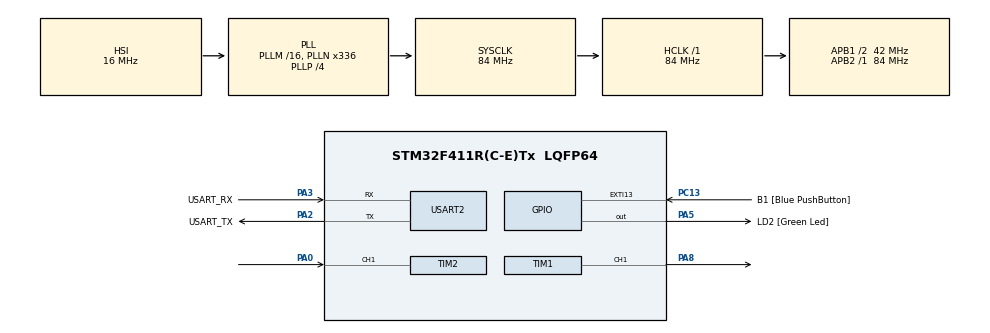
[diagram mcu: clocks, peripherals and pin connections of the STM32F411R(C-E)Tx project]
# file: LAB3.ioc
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Dma.Request0=TIM2_CH1
Dma.TIM2_CH1.0.Direction=DMA_PERIPH_TO_MEMORY
Dma.TIM2_CH1.0.FIFOMode=DMA_FIFOMODE_DISABLE
Dma.TIM2_CH1.0.Instance=DMA1_Stream5
Dma.TIM2_CH1.0.MemDataAlignment=DMA_MDATAALIGN_WORD
Dma.TIM2_CH1.0.MemInc=DMA_MINC_ENABLE
Dma.TIM2_CH1.0.Mode=DMA_CIRCULAR
Dma.TIM2_CH1.0.PeriphDataAlignment=DMA_PDATAALIGN_WORD
Dma.TIM2_CH1.0.PeriphInc=DMA_PINC_DISABLE
Dma.TIM2_CH1.0.Priority=DMA_PRIORITY_LOW
Mcu.Family=STM32F4
Mcu.Name=STM32F411R(C-E)Tx
Mcu.Package=LQFP64
NVIC.DMA1_Stream5_IRQn=true\:0\:0\:false\:false\:true\:false\:true\:true
NVIC.PriorityGroup=NVIC_PRIORITYGROUP_0
PA0-WKUP.Signal=S_TIM2_CH1_ETR
PA13.GPIO_Label=TMS
PA13.Mode=Serial_Wire
PA13.Signal=SYS_JTMS-SWDIO
PA14.GPIO_Label=TCK
PA14.Mode=Serial_Wire
PA14.Signal=SYS_JTCK-SWCLK
PA2.GPIO_Label=USART_TX
PA2.Mode=Asynchronous
PA2.Signal=USART2_TX
PA3.GPIO_Label=USART_RX
PA3.Mode=Asynchronous
PA3.Signal=USART2_RX
PA5.GPIO_Label=LD2 [Green Led]
PA5.Signal=GPIO_Output
PA8.Signal=S_TIM1_CH1
PB3.GPIO_Label=SWO
PB3.Signal=SYS_JTDO-SWO
PC13-ANTI_TAMP.GPIO_Label=B1 [Blue PushButton]
PC13-ANTI_TAMP.GPIO_ModeDefaultEXTI=GPIO_MODE_IT_FALLING
PC13-ANTI_TAMP.Signal=GPXTI13
PC14-OSC32_IN.Mode=LSE-External-Oscillator
PC14-OSC32_IN.Signal=RCC_OSC32_IN
PC15-OSC32_OUT.Mode=LSE-External-Oscillator
PC15-OSC32_OUT.Signal=RCC_OSC32_OUT
PH0\ -\ OSC_IN.Mode=HSE-External-Clock-Source
PH0\ -\ OSC_IN.Signal=RCC_OSC_IN
PH1\ -\ OSC_OUT.Mode=HSE-External-Clock-Source
PH1\ -\ OSC_OUT.Signal=RCC_OSC_OUT
ProjectManager.HeapSize=0x200
ProjectManager.StackSize=0x400
ProjectManager.TargetToolchain=STM32CubeIDE
RCC.48MHZClocksFreq_Value=84000000
RCC.AHBFreq_Value=84000000
RCC.APB1CLKDivider=RCC_HCLK_DIV2
RCC.APB1Freq_Value=42000000
RCC.APB1TimFreq_Value=84000000
RCC.APB2Freq_Value=84000000
RCC.APB2TimFreq_Value=84000000
RCC.CortexFreq_Value=84000000
RCC.FLatency-AdvancedSettings=FLASH_LATENCY_2
RCC.HCLKFreq_Value=84000000
RCC.HSE_VALUE=8000000
RCC.HSI_VALUE=16000000
RCC.PLLN=336
RCC.PLLP=RCC_PLLP_DIV4
RCC.SYSCLKFreq_VALUE=84000000
RCC.SYSCLKSource=RCC_SYSCLKSOURCE_PLLCLK
RCC.VCOOutputFreq_Value=336000000
SH.S_TIM1_CH1.0=TIM1_CH1,PWM Generation1 CH1
SH.S_TIM2_CH1_ETR.0=TIM2_CH1,Input_Capture1_from_TI1
TIM1.Channel-PWM\ Generation1\ CH1=TIM_CHANNEL_1
TIM1.Period=1000
TIM1.Prescaler=83
TIM1.Pulse-PWM\ Generation1\ CH1=500
TIM2.Channel-Input_Capture1_from_TI1=TIM_CHANNEL_1
TIM2.Prescaler=83
USART2.VirtualMode=VM_ASYNC
VP_TIM1_VS_ClockSourceINT.Mode=Internal
VP_TIM2_VS_ClockSourceINT.Mode=Internal
board=NUCLEO-F411RE

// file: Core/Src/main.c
/* USER CODE BEGIN Header */
/**
  ******************************************************************************
  * @file           : main.c
  * @brief          : Main program body
  ******************************************************************************
  * @attention
  *
  * Copyright (c) 2023 STMicroelectronics.
  * All rights reserved.
  *
  * This software is licensed under terms that can be found in the LICENSE file
  * in the root directory of this software component.
  * If no LICENSE file comes with this software, it is provided AS-IS.
  *
  ******************************************************************************
  */
/* USER CODE END Header */
#include "main.h"

/* USER CODE BEGIN Includes */
#define IC_BUFFER_SIZE 20
/* USER CODE END Includes */

TIM_HandleTypeDef htim1;
TIM_HandleTypeDef htim2;
DMA_HandleTypeDef hdma_tim2_ch1;

UART_HandleTypeDef huart2;

/* USER CODE BEGIN PV */
uint32_t InputCaptureBuffer[IC_BUFFER_SIZE];
float averageRisingedgePeriod;
int MotorControlEnable =0 ;
uint32_t PWM = 0;
uint32_t MotorReadRPM = 0, MotorSetDuty = 0;
uint32_t MotorSetRPM =0;

void SystemClock_Config(void);
static void MX_GPIO_Init(void);
static void MX_DMA_Init(void);
static void MX_USART2_UART_Init(void);
static void MX_TIM2_Init(void);
static void MX_TIM1_Init(void);
/* USER CODE BEGIN PFP */
float IC_Calc_Period();
/* USER CODE END PFP */

int main(void)
{

  /* MCU Configuration--------------------------------------------------------*/

  /* Reset of all peripherals, Initializes the Flash interface and the Systick. */
  HAL_Init();

  /* Configure the system clock */
  SystemClock_Config();

  /* Initialize all configured peripherals */
  MX_GPIO_Init();
  MX_DMA_Init();
  MX_USART2_UART_Init();
  MX_TIM2_Init();
  MX_TIM1_Init();
  /* USER CODE BEGIN 2 */
HAL_TIM_Base_Start(&htim2);
HAL_TIM_IC_Start_DMA(&htim2, TIM_CHANNEL_1, InputCaptureBuffer, IC_BUFFER_SIZE);

HAL_TIM_Base_Start(&htim1);
HAL_TIM_PWM_Start(&htim1, TIM_CHANNEL_1);
  /* USER CODE END 2 */

  /* Infinite loop */
  while (1)
  {

    /* USER CODE BEGIN 3 */
	  static uint32_t timestamp = 0;
	  if (HAL_GetTick()>= timestamp)
	  {
		  timestamp = HAL_GetTick()+500;
		  averageRisingedgePeriod = IC_Calc_Period();

		  MotorReadRPM = 60/(12*64*0.000001*averageRisingedgePeriod);

		  if (MotorControlEnable == 0)
		  {
			  if (MotorSetDuty <= 100)
			  {
				  PWM = (MotorSetDuty * 1000)/100;
				  __HAL_TIM_SET_COMPARE(&htim1,TIM_CHANNEL_1,PWM);
			  }
			  else if (MotorSetDuty > 100)
			  {
				  PWM = 1000;
				  __HAL_TIM_SET_COMPARE(&htim1,TIM_CHANNEL_1,PWM);
			  }
		  }

		  else if (MotorControlEnable == 1)
		  {
			  if(MotorSetRPM > MotorReadRPM)
			  {
				  PWM += 50;
				  __HAL_TIM_SET_COMPARE(&htim1,TIM_CHANNEL_1,PWM);
				  if (PWM > 1000)
				  {
					  PWM = 1000;
					  __HAL_TIM_SET_COMPARE(&htim1,TIM_CHANNEL_1,PWM);
				  }
			  }
			  else if (MotorSetRPM == 0)
			  {
				  PWM = 50;
				  __HAL_TIM_SET_COMPARE(&htim1,TIM_CHANNEL_1,PWM);
			  }
			  else if (MotorSetRPM < MotorReadRPM)
			  {
				 PWM -= 50;
				  __HAL_TIM_SET_COMPARE(&htim1,TIM_CHANNEL_1,PWM);
				  if (PWM > 1000)
				  {
					  PWM = 1000;
					  __HAL_TIM_SET_COMPARE(&htim1,TIM_CHANNEL_1,PWM);
				  }
			  }
		  }

	  }

  }
  /* USER CODE END 3 */
}

void SystemClock_Config(void)
{
  RCC_OscInitTypeDef RCC_OscInitStruct = {0};
  RCC_ClkInitTypeDef RCC_ClkInitStruct = {0};

  /** Configure the main internal regulator output voltage
  */
  __HAL_RCC_PWR_CLK_ENABLE();
  __HAL_PWR_VOLTAGESCALING_CONFIG(PWR_REGULATOR_VOLTAGE_SCALE1);

  /** Initializes the RCC Oscillators according to the specified parameters
  * in the RCC_OscInitTypeDef structure.
  */
  RCC_OscInitStruct.OscillatorType = RCC_OSCILLATORTYPE_HSI;
  RCC_OscInitStruct.HSIState = RCC_HSI_ON;
  RCC_OscInitStruct.HSICalibrationValue = RCC_HSICALIBRATION_DEFAULT;
  RCC_OscInitStruct.PLL.PLLState = RCC_PLL_ON;
  RCC_OscInitStruct.PLL.PLLSource = RCC_PLLSOURCE_HSI;
  RCC_OscInitStruct.PLL.PLLM = 16;
  RCC_OscInitStruct.PLL.PLLN = 336;
  RCC_OscInitStruct.PLL.PLLP = RCC_PLLP_DIV4;
  RCC_OscInitStruct.PLL.PLLQ = 4;
  if (HAL_RCC_OscConfig(&RCC_OscInitStruct) != HAL_OK)
  {
    Error_Handler();
  }

  /** Initializes the CPU, AHB and APB buses clocks
  */
  RCC_ClkInitStruct.ClockType = RCC_CLOCKTYPE_HCLK|RCC_CLOCKTYPE_SYSCLK
                              |RCC_CLOCKTYPE_PCLK1|RCC_CLOCKTYPE_PCLK2;
  RCC_ClkInitStruct.SYSCLKSource = RCC_SYSCLKSOURCE_PLLCLK;
  RCC_ClkInitStruct.AHBCLKDivider = RCC_SYSCLK_DIV1;
  RCC_ClkInitStruct.APB1CLKDivider = RCC_HCLK_DIV2;
  RCC_ClkInitStruct.APB2CLKDivider = RCC_HCLK_DIV1;

  if (HAL_RCC_ClockConfig(&RCC_ClkInitStruct, FLASH_LATENCY_2) != HAL_OK)
  {
    Error_Handler();
  }
}

static void MX_TIM1_Init(void)
{

  TIM_ClockConfigTypeDef sClockSourceConfig = {0};
  TIM_MasterConfigTypeDef sMasterConfig = {0};
  TIM_OC_InitTypeDef sConfigOC = {0};
  TIM_BreakDeadTimeConfigTypeDef sBreakDeadTimeConfig = {0};

  htim1.Instance = TIM1;
  htim1.Init.Prescaler = 83;
  htim1.Init.CounterMode = TIM_COUNTERMODE_UP;
  htim1.Init.Period = 1000;
  htim1.Init.ClockDivision = TIM_CLOCKDIVISION_DIV1;
  htim1.Init.RepetitionCounter = 0;
  htim1.Init.AutoReloadPreload = TIM_AUTORELOAD_PRELOAD_DISABLE;
  if (HAL_TIM_Base_Init(&htim1) != HAL_OK)
  {
    Error_Handler();
  }
  sClockSourceConfig.ClockSource = TIM_CLOCKSOURCE_INTERNAL;
  if (HAL_TIM_ConfigClockSource(&htim1, &sClockSourceConfig) != HAL_OK)
  {
    Error_Handler();
  }
  if (HAL_TIM_PWM_Init(&htim1) != HAL_OK)
  {
    Error_Handler();
  }
  sMasterConfig.MasterOutputTrigger = TIM_TRGO_RESET;
  sMasterConfig.MasterSlaveMode = TIM_MASTERSLAVEMODE_DISABLE;
  if (HAL_TIMEx_MasterConfigSynchronization(&htim1, &sMasterConfig) != HAL_OK)
  {
    Error_Handler();
  }
  sConfigOC.OCMode = TIM_OCMODE_PWM1;
  sConfigOC.Pulse = 500;
  sConfigOC.OCPolarity = TIM_OCPOLARITY_HIGH;
  sConfigOC.OCNPolarity = TIM_OCNPOLARITY_HIGH;
  sConfigOC.OCFastMode = TIM_OCFAST_DISABLE;
  sConfigOC.OCIdleState = TIM_OCIDLESTATE_RESET;
  sConfigOC.OCNIdleState = TIM_OCNIDLESTATE_RESET;
  if (HAL_TIM_PWM_ConfigChannel(&htim1, &sConfigOC, TIM_CHANNEL_1) != HAL_OK)
  {
    Error_Handler();
  }
  sBreakDeadTimeConfig.OffStateRunMode = TIM_OSSR_DISABLE;
  sBreakDeadTimeConfig.OffStateIDLEMode = TIM_OSSI_DISABLE;
  sBreakDeadTimeConfig.LockLevel = TIM_LOCKLEVEL_OFF;
  sBreakDeadTimeConfig.DeadTime = 0;
  sBreakDeadTimeConfig.BreakState = TIM_BREAK_DISABLE;
  sBreakDeadTimeConfig.BreakPolarity = TIM_BREAKPOLARITY_HIGH;
  sBreakDeadTimeConfig.AutomaticOutput = TIM_AUTOMATICOUTPUT_DISABLE;
  if (HAL_TIMEx_ConfigBreakDeadTime(&htim1, &sBreakDeadTimeConfig) != HAL_OK)
  {
    Error_Handler();
  }
  HAL_TIM_MspPostInit(&htim1);

}

static void MX_TIM2_Init(void)
{

  TIM_ClockConfigTypeDef sClockSourceConfig = {0};
  TIM_MasterConfigTypeDef sMasterConfig = {0};
  TIM_IC_InitTypeDef sConfigIC = {0};

  htim2.Instance = TIM2;
  htim2.Init.Prescaler = 83;
  htim2.Init.CounterMode = TIM_COUNTERMODE_UP;
  htim2.Init.Period = 4294967295;
  htim2.Init.ClockDivision = TIM_CLOCKDIVISION_DIV1;
  htim2.Init.AutoReloadPreload = TIM_AUTORELOAD_PRELOAD_DISABLE;
  if (HAL_TIM_Base_Init(&htim2) != HAL_OK)
  {
    Error_Handler();
  }
  sClockSourceConfig.ClockSource = TIM_CLOCKSOURCE_INTERNAL;
  if (HAL_TIM_ConfigClockSource(&htim2, &sClockSourceConfig) != HAL_OK)
  {
    Error_Handler();
  }
  if (HAL_TIM_IC_Init(&htim2) != HAL_OK)
  {
    Error_Handler();
  }
  sMasterConfig.MasterOutputTrigger = TIM_TRGO_RESET;
  sMasterConfig.MasterSlaveMode = TIM_MASTERSLAVEMODE_DISABLE;
  if (HAL_TIMEx_MasterConfigSynchronization(&htim2, &sMasterConfig) != HAL_OK)
  {
    Error_Handler();
  }
  sConfigIC.ICPolarity = TIM_INPUTCHANNELPOLARITY_RISING;
  sConfigIC.ICSelection = TIM_ICSELECTION_DIRECTTI;
  sConfigIC.ICPrescaler = TIM_ICPSC_DIV1;
  sConfigIC.ICFilter = 0;
  if (HAL_TIM_IC_ConfigChannel(&htim2, &sConfigIC, TIM_CHANNEL_1) != HAL_OK)
  {
    Error_Handler();
  }

}

static void MX_USART2_UART_Init(void)
{

  huart2.Instance = USART2;
  huart2.Init.BaudRate = 115200;
  huart2.Init.WordLength = UART_WORDLENGTH_8B;
  huart2.Init.StopBits = UART_STOPBITS_1;
  huart2.Init.Parity = UART_PARITY_NONE;
  huart2.Init.Mode = UART_MODE_TX_RX;
  huart2.Init.HwFlowCtl = UART_HWCONTROL_NONE;
  huart2.Init.OverSampling = UART_OVERSAMPLING_16;
  if (HAL_UART_Init(&huart2) != HAL_OK)
  {
    Error_Handler();
  }

}

static void MX_DMA_Init(void)
{

  /* DMA controller clock enable */
  __HAL_RCC_DMA1_CLK_ENABLE();

  /* DMA interrupt init */
  /* DMA1_Stream5_IRQn interrupt configuration */
  HAL_NVIC_SetPriority(DMA1_Stream5_IRQn, 0, 0);
  HAL_NVIC_EnableIRQ(DMA1_Stream5_IRQn);

}

static void MX_GPIO_Init(void)
{
  GPIO_InitTypeDef GPIO_InitStruct = {0};

  /* GPIO Ports Clock Enable */
  __HAL_RCC_GPIOC_CLK_ENABLE();
  __HAL_RCC_GPIOH_CLK_ENABLE();
  __HAL_RCC_GPIOA_CLK_ENABLE();
  __HAL_RCC_GPIOB_CLK_ENABLE();

  /*Configure GPIO pin Output Level */
  HAL_GPIO_WritePin(LD2_GPIO_Port, LD2_Pin, GPIO_PIN_RESET);

  /*Configure GPIO pin : B1_Pin */
  GPIO_InitStruct.Pin = B1_Pin;
  GPIO_InitStruct.Mode = GPIO_MODE_IT_FALLING;
  GPIO_InitStruct.Pull = GPIO_NOPULL;
  HAL_GPIO_Init(B1_GPIO_Port, &GPIO_InitStruct);

  /*Configure GPIO pin : LD2_Pin */
  GPIO_InitStruct.Pin = LD2_Pin;
  GPIO_InitStruct.Mode = GPIO_MODE_OUTPUT_PP;
  GPIO_InitStruct.Pull = GPIO_NOPULL;
  GPIO_InitStruct.Speed = GPIO_SPEED_FREQ_LOW;
  HAL_GPIO_Init(LD2_GPIO_Port, &GPIO_InitStruct);

}

/* USER CODE BEGIN 4 */
float IC_Calc_Period()
{
    uint32_t currentDMAPointer = IC_BUFFER_SIZE - __HAL_DMA_GET_COUNTER((htim2.hdma[1]));
    uint32_t lastValidDMAPointer = (currentDMAPointer-1 + IC_BUFFER_SIZE) % IC_BUFFER_SIZE;
    uint32_t i = (lastValidDMAPointer + IC_BUFFER_SIZE - 6) % IC_BUFFER_SIZE;

    int32_t sumdiff = 0;
    while (i != lastValidDMAPointer)
    {
        uint32_t firstCapture = InputCaptureBuffer[i];
        uint32_t NextCapture = InputCaptureBuffer[(i+1)%IC_BUFFER_SIZE];
        sumdiff += NextCapture - firstCapture;
        i = (i+1) % IC_BUFFER_SIZE ;
    }
    return sumdiff / 5.0;
}
/* USER CODE END 4 */

void Error_Handler(void)
{
  __disable_irq();
  while (1)
  {
  }
}
